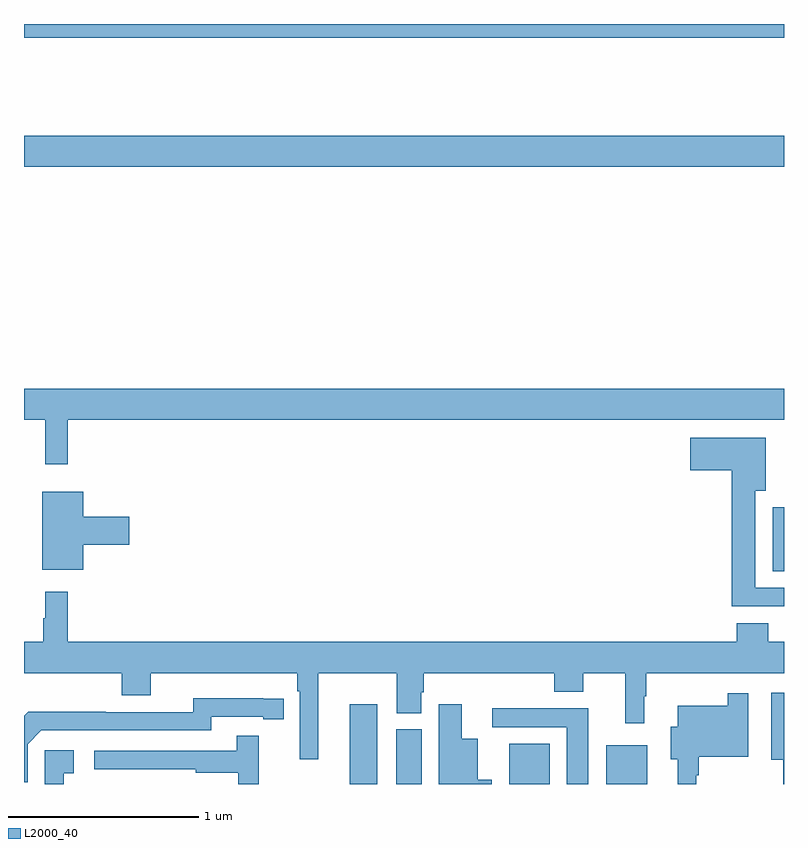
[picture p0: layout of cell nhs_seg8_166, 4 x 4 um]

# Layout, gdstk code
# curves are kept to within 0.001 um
import gdstk
lib = gdstk.Library(unit=1e-6, precision=1e-09)
def R(c, l, rs):  # rectangles x0, y0, x1, y1
    for r in rs: c.add(gdstk.rectangle(r[:2], r[2:], *l))
def P(c, l, *ps):  # polygons
    for p in ps: c.add(gdstk.Polygon(p, *l))
L2000_40 = (2000, 40)

nhs_seg8_166 = lib.new_cell('nhs_seg8_166')
R(nhs_seg8_166, L2000_40, [(122.714,1131.9,122.86,1132.321), (122.96,1131.9,123.094,1132.188), (123.554,1131.9,123.766,1132.111), (124.064,1131.9,124.279,1132.105), (124.94,1133.021,125,1133.356), (121,1135.148,125,1135.312), (121,1135.828,125,1135.9)])
P(nhs_seg8_166, L2000_40, [(121.229,1133.816),(125,1133.816),(125,1133.98),(121,1133.98),(121,1133.816),(121.112,1133.816),(121.112,1133.583),(121.229,1133.583)],
  [(125,1132.932),(124.849,1132.932),(124.849,1133.444),(124.903,1133.444),(124.903,1133.722),(124.506,1133.722),(124.506,1133.552),(124.724,1133.552),(124.724,1132.835),(125,1132.835)],
  [(121.312,1133.159),(121.555,1133.159),(121.555,1133.306),(121.312,1133.306),(121.312,1133.437),(121.097,1133.437),(121.097,1133.027),(121.312,1133.027)],
  [(122.548,1132.484),(122.963,1132.484),(122.963,1132.273),(123.091,1132.273),(123.091,1132.383),(123.104,1132.383),(123.104,1132.484),(123.791,1132.484),(123.791,1132.385),(123.943,1132.385),(123.943,1132.484),(124.165,1132.484),(124.165,1132.221),(124.264,1132.221),(124.264,1132.361),(124.276,1132.361),(124.276,1132.484),(125,1132.484),(125,1132.648),(124.916,1132.648),(124.916,1132.747),(124.751,1132.747),(124.751,1132.648),(121.229,1132.648),(121.229,1132.912),(121.112,1132.912),(121.112,1132.772),(121.101,1132.772),(121.101,1132.648),(121,1132.648),(121,1132.484),(121.514,1132.484),(121.514,1132.367),(121.666,1132.367),(121.666,1132.484),(122.438,1132.484),(122.438,1132.388),(122.451,1132.388),(122.451,1132.029),(122.548,1132.029)],
  [(125,1132.381),(124.934,1132.381),(124.934,1132.028),(124.995,1132.028),(124.995,1131.9),(125,1131.9)],
  [(124.539,1131.947),(124.552,1131.947),(124.552,1132.043),(124.812,1132.043),(124.812,1132.378),(124.704,1132.378),(124.704,1132.312),(124.442,1132.312),(124.442,1132.201),(124.403,1132.201),(124.403,1132.031),(124.442,1132.031),(124.442,1131.9),(124.539,1131.9)],
  [(121.02,1132.11),(121.092,1132.182),(121.986,1132.182),(121.986,1132.254),(122.258,1132.254),(122.258,1132.242),(122.366,1132.242),(122.366,1132.35),(121.89,1132.351),(121.89,1132.278),(121.43,1132.278),(121.43,1132.28),(121.022,1132.28),(121,1132.258),(121,1131.909),(121.02,1131.909)],
  [(123.463,1131.922),(123.388,1131.922),(123.388,1132.138),(123.304,1132.138),(123.304,1132.321),(123.182,1132.321),(123.182,1131.9),(123.463,1131.9)],
  [(123.97,1132.298),(123.465,1132.298),(123.465,1132.2),(123.857,1132.2),(123.857,1131.9),(123.97,1131.9)],
  [(122.236,1132.153),(122.119,1132.153),(122.119,1132.074),(121.371,1132.074),(121.371,1131.978),(121.903,1131.978),(121.903,1131.958),(122.127,1131.958),(122.127,1131.9),(122.236,1131.9)],
  [(121.208,1131.957),(121.261,1131.957),(121.261,1132.078),(121.11,1132.078),(121.11,1131.9),(121.208,1131.9)])

lib.write_gds('nhs_seg8_166.gds')
